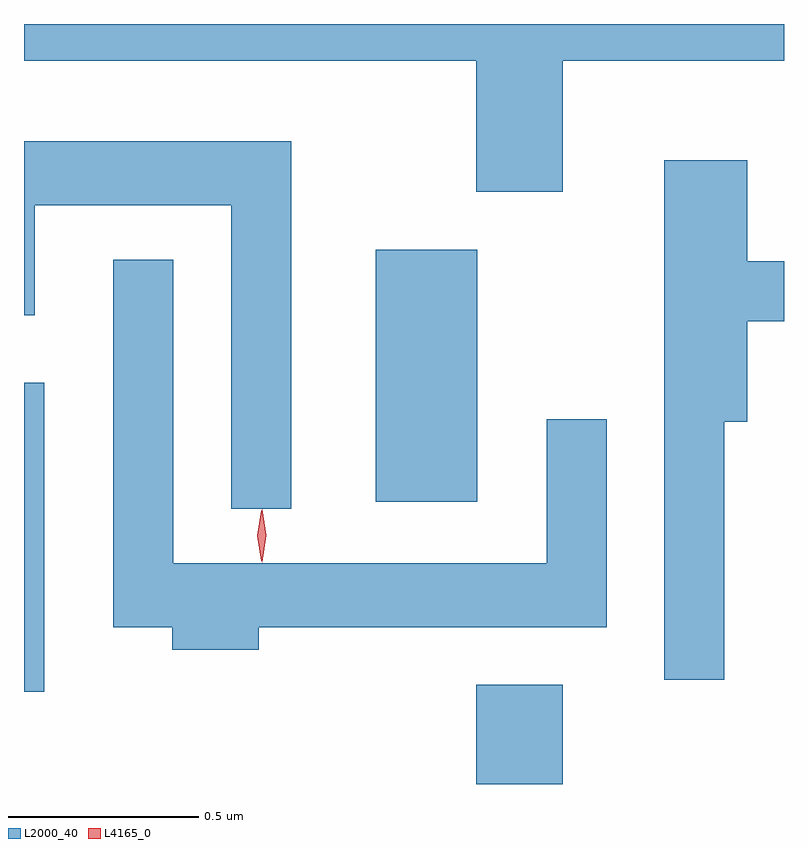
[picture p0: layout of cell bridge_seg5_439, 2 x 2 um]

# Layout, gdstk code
import gdstk
lib = gdstk.Library(unit=1e-6, precision=1e-09)
def R(c, l, rs):  # rectangles x0, y0, x1, y1
    for r in rs: c.add(gdstk.rectangle(r[:2], r[2:], *l))
def P(c, l, *ps):  # polygons
    for p in ps: c.add(gdstk.Polygon(p, *l))
L2000_40 = (2000, 40)
L4165_0 = (4165, 0)

bridge_seg5_439 = lib.new_cell('bridge_seg5_439')
R(bridge_seg5_439, L2000_40, [(545.931,1517.053,546.159,1517.314), (544.741,1517.296,544.794,1518.109), (545.666,1517.796,545.934,1518.459)])
P(bridge_seg5_439, L2000_40, [(546.159,1518.956),(546.741,1518.956),(546.741,1519.053),(544.741,1519.053),(544.741,1518.956),(545.931,1518.956),(545.931,1518.611),(546.159,1518.611)],
  [(545.444,1518.744),(544.741,1518.744),(544.741,1518.286),(544.769,1518.286),(544.769,1518.576),(545.286,1518.576),(545.286,1517.778),(545.444,1517.778)],
  [(546.584,1518.006),(546.644,1518.006),(546.644,1518.271),(546.741,1518.271),(546.741,1518.429),(546.644,1518.429),(546.644,1518.694),(546.426,1518.694),(546.426,1517.328),(546.584,1517.328)],
  [(545.359,1517.466),(546.274,1517.466),(546.274,1518.013),(546.116,1518.013),(546.116,1517.634),(545.134,1517.634),(545.134,1518.433),(544.976,1518.433),(544.976,1517.466),(545.131,1517.466),(545.131,1517.406),(545.359,1517.406)])
P(bridge_seg5_439, L4165_0, [(545.368,1517.637),(545.368,1517.637),(545.358,1517.707),(545.368,1517.776),(545.368,1517.776),(545.368,1517.776),(545.378,1517.707),(545.368,1517.637)],
  [(545.365,1517.639),(545.365,1517.64),(545.355,1517.706),(545.365,1517.772),(545.365,1517.773),(545.366,1517.772),(545.375,1517.706),(545.366,1517.64)])

lib.write_gds('bridge_seg5_439.gds')
